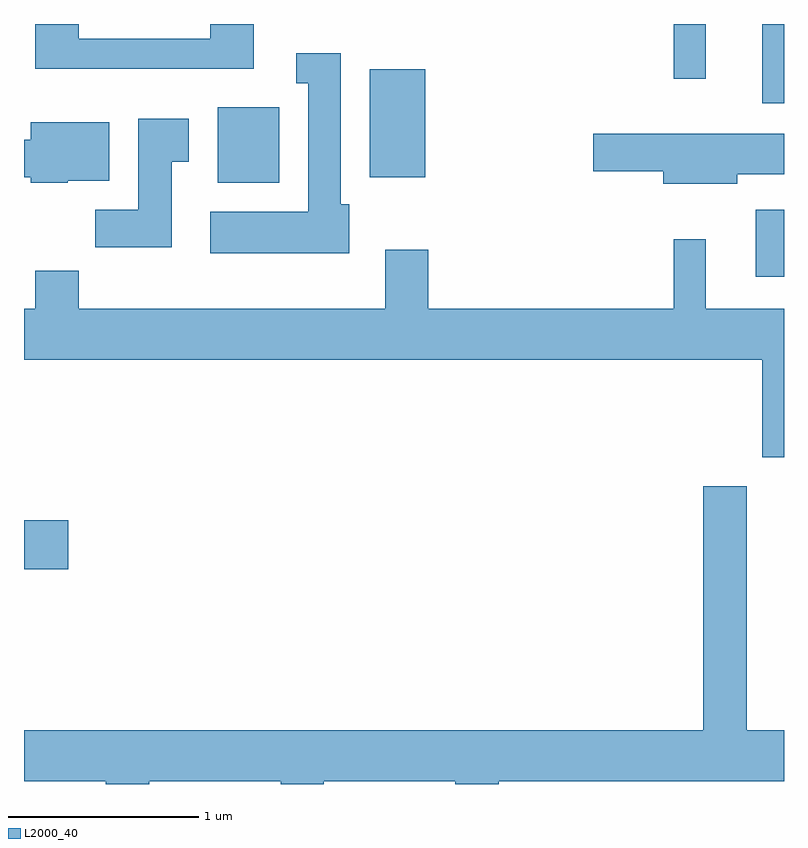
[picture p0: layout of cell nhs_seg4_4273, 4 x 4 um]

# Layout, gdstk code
import gdstk
lib = gdstk.Library(unit=1e-6, precision=1e-09)
def R(c, l, rs):  # rectangles x0, y0, x1, y1
    for r in rs: c.add(gdstk.rectangle(r[:2], r[2:], *l))
def P(c, l, *ps):  # polygons
    for p in ps: c.add(gdstk.Polygon(p, *l))
L2000_40 = (2000, 40)

nhs_seg4_4273 = lib.new_cell('nhs_seg4_4273')
R(nhs_seg4_4273, L2000_40, [(309.611,1369.111,309.844,1369.369), (313.461,1370.651,313.611,1371.004), (310.631,1371.146,310.954,1371.544), (311.431,1371.176,311.724,1371.744), (313.496,1371.566,313.611,1371.982), (313.031,1371.693,313.199,1371.982)])
P(nhs_seg4_4273, L2000_40, [(310.819,1371.982),(310.591,1371.982),(310.591,1371.904),(309.899,1371.904),(309.899,1371.982),(309.671,1371.982),(309.671,1371.746),(310.819,1371.746)],
  [(311.324,1371.034),(311.279,1371.034),(311.279,1371.829),(311.043,1371.829),(311.043,1371.671),(311.106,1371.671),(311.106,1370.994),(310.591,1370.994),(310.591,1370.776),(311.324,1370.776)],
  [(310.389,1371.256),(310.479,1371.256),(310.479,1371.484),(310.211,1371.484),(310.211,1371.004),(309.986,1371.004),(309.986,1370.806),(310.389,1370.806)],
  [(309.84,1371.156),(310.059,1371.156),(310.059,1371.464),(309.646,1371.464),(309.646,1371.374),(309.611,1371.374),(309.611,1371.176),(309.646,1371.176),(309.646,1371.146),(309.84,1371.146)],
  [(313.364,1371.191),(313.611,1371.191),(313.611,1371.404),(312.606,1371.404),(312.606,1371.206),(312.976,1371.206),(312.976,1371.141),(313.364,1371.141)],
  [(313.611,1370.484),(313.199,1370.484),(313.199,1370.848),(313.031,1370.848),(313.031,1370.484),(311.739,1370.484),(311.739,1370.794),(311.511,1370.794),(311.511,1370.484),(309.899,1370.484),(309.899,1370.684),(309.671,1370.684),(309.671,1370.484),(309.611,1370.484),(309.611,1370.216),(313.496,1370.216),(313.496,1369.701),(313.611,1369.701)],
  [(310.269,1367.996),(310.961,1367.996),(310.961,1367.982),(311.189,1367.982),(311.189,1367.996),(311.881,1367.996),(311.881,1367.982),(312.109,1367.982),(312.109,1367.996),(313.611,1367.996),(313.611,1368.264),(313.414,1368.264),(313.414,1369.549),(313.186,1369.549),(313.186,1368.264),(309.611,1368.264),(309.611,1367.996),(310.041,1367.996),(310.041,1367.982),(310.269,1367.982)])

lib.write_gds('nhs_seg4_4273.gds')
